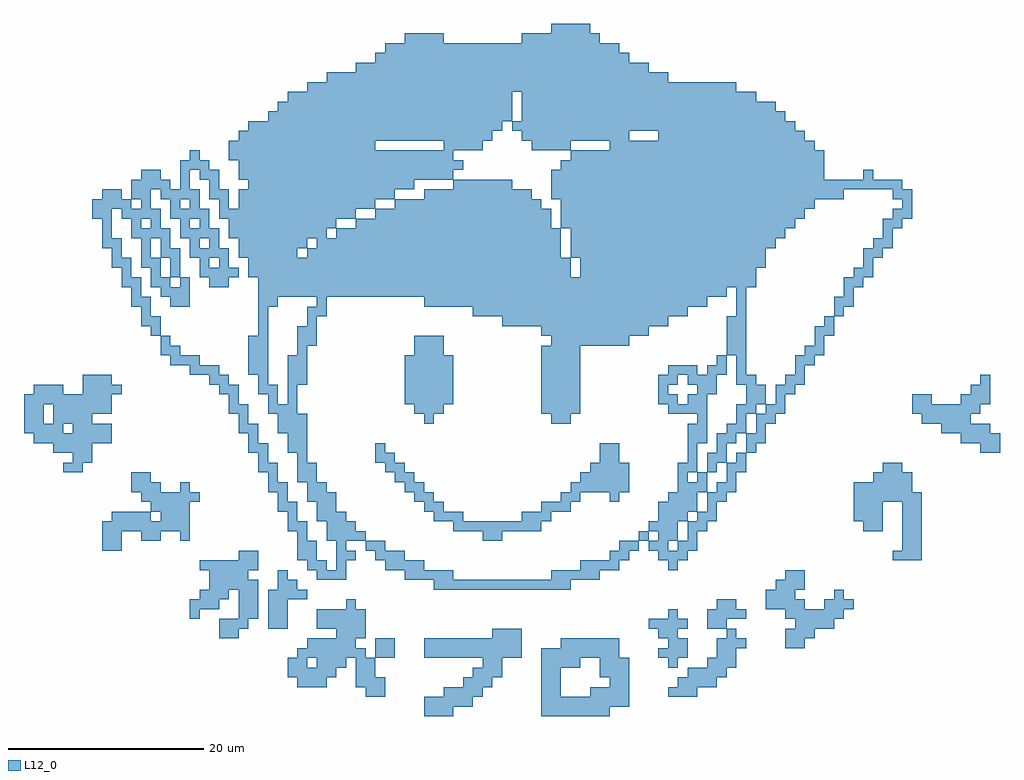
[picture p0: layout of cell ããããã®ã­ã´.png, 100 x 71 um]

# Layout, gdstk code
import gdstk
lib = gdstk.Library(unit=1e-6, precision=1e-09)
def R(c, l, rs):  # rectangles x0, y0, x1, y1
    for r in rs: c.add(gdstk.rectangle(r[:2], r[2:], *l))
def A(c, l, x, y, w, h, nx, ny, dx, dy):  # array of equal rectangles
    R(c, l, [(x+i*dx, y+j*dy, x+i*dx+w, y+j*dy+h) for i in range(nx) for j in range(ny)])
L12_0 = (12, 0)

c_______________________pn = lib.new_cell('ã\x81\x82ã\x81\x95ã\x81\x8cã\x81\x8aã\x81®ã\x83\xadã\x82´.png')
A(c_______________________pn, L12_0, 3, -33.5, 2, 1, 1, 3, 0, 1)
A(c_______________________pn, L12_0, 16, -30.5, 1, 1, 1, 3, 0, 5)
A(c_______________________pn, L12_0, -25, -26.5, 2, 1, 1, 3, 0, 1)
A(c_______________________pn, L12_0, -28, -25.5, 2, 1, 1, 3, 0, 1)
A(c_______________________pn, L12_0, 11, -18.5, 2, 1, 3, 1, 3, 0)
A(c_______________________pn, L12_0, 40, -18.5, 2, 1, 1, 5, 0, 1)
A(c_______________________pn, L12_0, -10, -13.5, 2, 1, 3, 1, 15, 0)
A(c_______________________pn, L12_0, 18, -8.5, 1, 1, 3, 1, 3, 0)
A(c_______________________pn, L12_0, 18, -7.5, 2, 1, 3, 1, 3, 0)
A(c_______________________pn, L12_0, 3, -4.5, 4, 1, 1, 7, 0, 1)
A(c_______________________pn, L12_0, -11, -3.5, 5, 1, 1, 5, 0, 1)
A(c_______________________pn, L12_0, -23, -1.5, 2, 1, 1, 3, 0, 1)
A(c_______________________pn, L12_0, -27, -0.5, 2, 1, 1, 4, 0, 1)
A(c_______________________pn, L12_0, 22, 1.5, 2, 1, 1, 4, 0, 1)
A(c_______________________pn, L12_0, -26, 3.5, 1, 1, 1, 3, 0, 1)
A(c_______________________pn, L12_0, 23, 5.5, 1, 1, 1, 3, 0, 1)
R(c_______________________pn, L12_0, [(-9,-35.5,-6,-34.5), (3,-35.5,10,-34.5), (-9,-34.5,-4,-33.5), (3,-34.5,12,-33.5), (-15,-33.5,-13,-32.5), (-7,-33.5,-3,-32.5), (8,-33.5,12,-32.5), (16,-33.5,19,-32.5), (-22,-32.5,-19,-31.5), (-16,-32.5,-13,-31.5), (-5,-32.5,-2,-31.5), (10,-32.5,12,-31.5), (17,-32.5,21,-31.5), (-23,-31.5,-18,-30.5), (-16,-31.5,-14,-30.5), (-4,-31.5,-1,-30.5), (9,-31.5,12,-30.5), (18,-31.5,22,-30.5), (-23,-30.5,-21,-29.5), (-20,-30.5,-17,-29.5), (-16,-30.5,-14,-29.5), (-3,-30.5,-1,-29.5), (3,-30.5,7,-29.5), (9,-30.5,12,-29.5), (20,-30.5,23,-29.5), (-22,-29.5,-15,-28.5), (-14,-29.5,-12,-28.5), (-9,-29.5,1,-28.5), (3,-29.5,11,-28.5), (15,-29.5,18,-28.5), (21,-29.5,23,-28.5), (-21,-28.5,-16,-27.5), (-14,-28.5,-12,-27.5), (-9,-28.5,1,-27.5), (5,-28.5,11,-27.5), (16,-28.5,18,-27.5), (21,-28.5,24,-27.5), (28,-28.5,30,-27.5), (-30,-27.5,-28,-26.5), (-18,-27.5,-15,-26.5), (-2,-27.5,1,-26.5), (15,-27.5,17,-26.5), (22,-27.5,23,-26.5), (28,-27.5,31,-26.5), (-30,-26.5,-27,-25.5), (-20,-26.5,-15,-25.5), (14,-26.5,18,-25.5), (20,-26.5,22,-25.5), (29,-26.5,33,-25.5), (-33,-25.5,-32,-24.5), (-20,-25.5,-15,-24.5), (20,-25.5,24,-24.5), (28,-25.5,34,-24.5), (-33,-24.5,-30,-23.5), (-17,-24.5,-16,-23.5), (21,-24.5,23,-23.5), (26,-24.5,30,-23.5), (32,-24.5,35,-23.5), (-32,-23.5,-29,-22.5), (-25,-23.5,-21,-22.5), (26,-23.5,29,-22.5), (33,-23.5,34,-22.5), (-31,-22.5,-26,-21.5), (-24,-22.5,-22,-21.5), (-8,-22.5,6,-21.5), (27,-22.5,30,-21.5), (-31,-21.5,-27,-20.5), (-24,-21.5,-23,-20.5), (-20,-21.5,-17,-20.5), (-11,-21.5,-6,-20.5), (4,-21.5,9,-20.5), (28,-21.5,30,-20.5), (-32,-20.5,-26,-19.5), (-21,-20.5,-19,-19.5), (-18,-20.5,-17,-19.5), (-13,-20.5,-9,-19.5), (7,-20.5,11,-19.5), (-28,-19.5,-26,-18.5), (-22,-19.5,-20,-18.5), (-18,-19.5,-16,-18.5), (-14,-19.5,-11,-18.5), (10,-19.5,12,-18.5), (15,-19.5,18,-18.5), (39,-19.5,42,-18.5), (-42,-18.5,-40,-17.5), (-22,-18.5,-20,-17.5), (-18,-18.5,-17,-17.5), (-15,-18.5,-13,-17.5), (-42,-17.5,-40,-16.5), (-38,-17.5,-36,-16.5), (-34,-17.5,-33,-16.5), (-22,-17.5,-21,-16.5), (-19,-17.5,-15,-16.5), (-3,-17.5,-1,-16.5), (13,-17.5,14,-16.5), (15,-17.5,17,-16.5), (18,-17.5,19,-16.5), (-42,-16.5,-33,-15.5), (-23,-16.5,-21,-15.5), (-19,-16.5,-16,-15.5), (-6,-16.5,3,-15.5), (14,-16.5,17,-15.5), (18,-16.5,20,-15.5), (36,-16.5,38,-15.5), (-41,-15.5,-37,-14.5), (-36,-15.5,-33,-14.5), (-23,-15.5,-22,-14.5), (-20,-15.5,-17,-14.5), (-8,-15.5,-5,-14.5), (1,-15.5,4,-14.5), (15,-15.5,18,-14.5), (19,-15.5,21,-14.5), (35,-15.5,38,-14.5), (-37,-14.5,-33,-13.5), (-24,-14.5,-22,-13.5), (-20,-14.5,-18,-13.5), (-9,-14.5,-7,-13.5), (3,-14.5,6,-13.5), (15,-14.5,19,-13.5), (20,-14.5,21,-13.5), (35,-14.5,38,-13.5), (-38,-13.5,-32,-12.5), (-24,-13.5,-23,-12.5), (-21,-13.5,-18,-12.5), (10,-13.5,11,-12.5), (16,-13.5,19,-12.5), (35,-13.5,42,-12.5), (-39,-12.5,-36,-11.5), (-34,-12.5,-33,-11.5), (-25,-12.5,-23,-11.5), (-21,-12.5,-19,-11.5), (-11,-12.5,-9,-11.5), (6,-12.5,12,-11.5), (17,-12.5,20,-11.5), (21,-12.5,23,-11.5), (35,-12.5,41,-11.5), (-39,-11.5,-37,-10.5), (-25,-11.5,-24,-10.5), (-22,-11.5,-20,-10.5), (-12,-11.5,-10,-10.5), (7,-11.5,12,-10.5), (17,-11.5,18,-10.5), (19,-11.5,20,-10.5), (22,-11.5,23,-10.5), (37,-11.5,41,-10.5), (-46,-10.5,-44,-9.5), (-26,-10.5,-24,-9.5), (-22,-10.5,-20,-9.5), (-13,-10.5,-11,-9.5), (8,-10.5,12,-9.5), (17,-10.5,19,-9.5), (20,-10.5,21,-9.5), (22,-10.5,24,-9.5), (38,-10.5,40,-9.5), (-45,-9.5,-43,-8.5), (-26,-9.5,-25,-8.5), (-22,-9.5,-21,-8.5), (-14,-9.5,-12,-8.5), (9,-9.5,11,-8.5), (18,-9.5,19,-8.5), (20,-9.5,22,-8.5), (23,-9.5,24,-8.5), (-47,-8.5,-43,-7.5), (-27,-8.5,-25,-7.5), (-23,-8.5,-21,-7.5), (-14,-8.5,-13,-7.5), (9,-8.5,11,-7.5), (48,-8.5,50,-7.5), (-49,-7.5,-41,-6.5), (-27,-7.5,-26,-6.5), (-23,-7.5,-21,-6.5), (46,-7.5,50,-6.5), (-50,-6.5,-46,-5.5), (-45,-6.5,-41,-5.5), (-28,-6.5,-26,-5.5), (-24,-6.5,-21,-5.5), (18,-6.5,20,-5.5), (22,-6.5,24,-5.5), (25,-6.5,26,-5.5), (44,-6.5,49,-5.5), (-50,-5.5,-48,-4.5), (-47,-5.5,-43,-4.5), (-28,-5.5,-27,-4.5), (-24,-5.5,-21,-4.5), (-9,-5.5,-8,-4.5), (4,-5.5,6,-4.5), (19,-5.5,20,-4.5), (23,-5.5,24,-4.5), (25,-5.5,27,-4.5), (42,-5.5,47,-4.5), (-50,-4.5,-48,-3.5), (-47,-4.5,-41,-3.5), (-29,-4.5,-27,-3.5), (-25,-4.5,-22,-3.5), (-10,-4.5,-7,-3.5), (16,-4.5,20,-3.5), (23,-4.5,25,-3.5), (26,-4.5,28,-3.5), (41,-4.5,48,-3.5), (-50,-3.5,-41,-2.5), (-29,-3.5,-28,-2.5), (-25,-3.5,-24,-2.5), (-23,-3.5,-22,-2.5), (15,-3.5,17,-2.5), (18,-3.5,20,-2.5), (24,-3.5,26,-2.5), (27,-3.5,28,-2.5), (41,-3.5,43,-2.5), (46,-3.5,49,-2.5), (-49,-2.5,-46,-1.5), (-44,-2.5,-40,-1.5), (-30,-2.5,-28,-1.5), (-26,-2.5,-24,-1.5), (-23,-2.5,-22,-1.5), (15,-2.5,16,-1.5), (19,-2.5,21,-1.5), (24,-2.5,26,-1.5), (27,-2.5,29,-1.5), (47,-2.5,49,-1.5), (-44,-1.5,-41,-0.5), (-31,-1.5,-29,-0.5), (-26,-1.5,-25,-0.5), (15,-1.5,17,-0.5), (18,-1.5,21,-0.5), (23,-1.5,25,-0.5), (28,-1.5,30,-0.5), (48,-1.5,49,-0.5), (-33,-0.5,-30,0.5), (16,-0.5,19,0.5), (20,-0.5,22,0.5), (23,-0.5,24,0.5), (29,-0.5,30,0.5), (-35,0.5,-32,1.5), (21,0.5,22,1.5), (23,0.5,24,1.5), (29,0.5,31,1.5), (-36,1.5,-34,2.5), (-22,1.5,-21,2.5), (-10,1.5,-7,2.5), (30,1.5,32,2.5), (-36,2.5,-35,3.5), (-22,2.5,-20,3.5), (-10,2.5,-7,3.5), (4,2.5,12,3.5), (31,2.5,32,3.5), (-37,3.5,-36,4.5), (-22,3.5,-20,4.5), (3,3.5,14,4.5), (31,3.5,33,4.5), (-38,4.5,-36,5.5), (-21,4.5,-20,5.5), (-1,4.5,16,5.5), (32,4.5,33,5.5), (-38,5.5,-37,6.5), (-21,5.5,-19,6.5), (-4,5.5,18,6.5), (33,5.5,34,6.5), (-39,6.5,-37,7.5), (-35,6.5,-33,7.5), (-26,6.5,-24,7.5), (-20,6.5,-19,7.5), (-9,6.5,20,7.5), (33,6.5,35,7.5), (-39,7.5,-38,8.5), (-36,7.5,-33,8.5), (-26,7.5,22,8.5), (34,7.5,35,8.5), (-40,8.5,-38,9.5), (-37,8.5,-35,9.5), (-34,8.5,-33,9.5), (-31,8.5,-29,9.5), (-26,8.5,25,9.5), (34,8.5,36,9.5), (-40,9.5,-39,10.5), (-37,9.5,-36,10.5), (-35,9.5,-34,10.5), (-32,9.5,-28,10.5), (-27,9.5,6,10.5), (7,9.5,25,10.5), (35,9.5,37,10.5), (-41,10.5,-39,11.5), (-38,10.5,-36,11.5), (-35,10.5,-34,11.5), (-32,10.5,-31,11.5), (-30,10.5,-29,11.5), (-27,10.5,6,11.5), (7,10.5,26,11.5), (36,10.5,37,11.5), (-41,11.5,-40,12.5), (-38,11.5,-37,12.5), (-36,11.5,-34,12.5), (-33,11.5,-29,12.5), (-28,11.5,-22,12.5), (-21,11.5,5,12.5), (6,11.5,26,12.5), (36,11.5,38,12.5), (-42,12.5,-40,13.5), (-38,12.5,-37,13.5), (-36,12.5,-35,13.5), (-33,12.5,-32,13.5), (-31,12.5,-30,13.5), (-28,12.5,-21,13.5), (-20,12.5,5,13.5), (6,12.5,27,13.5), (37,12.5,39,13.5), (-42,13.5,-41,14.5), (-39,13.5,-35,14.5), (-34,13.5,-30,14.5), (-29,13.5,-19,14.5), (-18,13.5,5,14.5), (6,13.5,28,14.5), (38,13.5,39,14.5), (-42,14.5,-41,15.5), (-39,14.5,-38,15.5), (-37,14.5,-36,15.5), (-34,14.5,-33,15.5), (-32,14.5,-31,15.5), (-29,14.5,-18,15.5), (-16,14.5,4,15.5), (5,14.5,29,15.5), (38,14.5,40,15.5), (-43,15.5,-41,16.5), (-40,15.5,-36,16.5), (-35,15.5,-31,16.5), (-30,15.5,-16,16.5), (-14,15.5,4,16.5), (5,15.5,30,16.5), (39,15.5,41,16.5), (-43,16.5,-39,17.5), (-38,16.5,-37,17.5), (-35,16.5,-34,17.5), (-33,16.5,-32,17.5), (-30,16.5,-29,17.5), (-28,16.5,-14,17.5), (-12,16.5,3,17.5), (5,16.5,31,17.5), (40,16.5,41,17.5), (-42,17.5,-40,18.5), (-39,17.5,-37,18.5), (-36,17.5,-32,18.5), (-31,17.5,-29,18.5), (-28,17.5,-12,18.5), (-9,17.5,2,18.5), (4,17.5,34,18.5), (39,17.5,41,18.5), (-39,18.5,-35,19.5), (-34,18.5,-33,19.5), (-31,18.5,-30,19.5), (-27,18.5,-10,19.5), (-6,18.5,0,19.5), (4,18.5,40,19.5), (-38,19.5,-36,20.5), (-34,19.5,-33,20.5), (-32,19.5,-30,20.5), (-28,19.5,-6,20.5), (4,19.5,32,20.5), (36,19.5,37,20.5), (-34,20.5,-31,21.5), (-28,20.5,-5,21.5), (5,20.5,32,21.5), (-33,21.5,-32,22.5), (-29,21.5,-6,22.5), (6,21.5,32,22.5), (-29,22.5,-14,23.5), (-7,22.5,-3,23.5), (2,22.5,6,23.5), (10,22.5,31,23.5), (-28,23.5,-2,24.5), (1,23.5,12,24.5), (15,23.5,30,24.5), (-27,24.5,-1,25.5), (0,24.5,29,25.5), (-25,25.5,0,26.5), (1,25.5,28,26.5), (-24,26.5,0,27.5), (1,26.5,27,27.5), (-23,27.5,0,28.5), (1,27.5,25,28.5), (-21,28.5,23,29.5), (-19,29.5,16,30.5), (-16,30.5,14,31.5), (-14,31.5,12,32.5), (-13,32.5,11,33.5), (-11,33.5,-7,34.5), (1,33.5,9,34.5), (4,34.5,8,35.5)])

lib.write_gds('ã__ã__ã__ã__ã__ã__ã__.png.gds')
